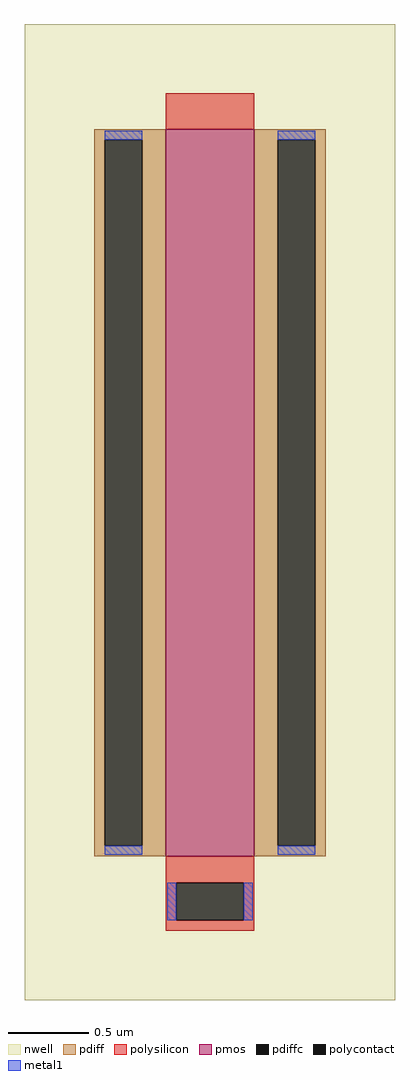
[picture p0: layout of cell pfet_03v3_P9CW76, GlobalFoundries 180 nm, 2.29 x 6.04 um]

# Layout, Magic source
magic
tech gf180mcuD
magscale 1 10
<< nwell >>
rect -229 -604 229 604
<< pmos >>
rect -55 -426 55 474
<< pdiff >>
rect -143 461 -55 474
rect -143 -413 -130 461
rect -84 -413 -55 461
rect -143 -426 -55 -413
rect 55 461 143 474
rect 55 -413 84 461
rect 130 -413 143 461
rect 55 -426 143 -413
<< pdiffc >>
rect -130 -413 -84 461
rect 84 -413 130 461
<< polysilicon >>
rect -55 474 55 518
rect -55 -459 55 -426
rect -55 -505 -42 -459
rect 42 -505 55 -459
rect -55 -518 55 -505
<< polycontact >>
rect -42 -505 42 -459
<< metal1 >>
rect -130 461 -84 472
rect -130 -424 -84 -413
rect 84 461 130 472
rect 84 -424 130 -413
rect -53 -505 -42 -459
rect 42 -505 53 -459
<< properties >>
string gencell pfet_03v3
string library gf180mcu
string parameters w 4.5 l 0.55 m 1 nf 1 diffcov 100 polycov 100 guard 0 glc 1 grc 1 gtc 0 gbc 0 tbcov 100 rlcov 100 topc 0 botc 1 poverlap 0 doverlap 1 lmin 0.28 wmin 0.22 class mosfet full_metal 1 compatible {pfet_03v3 pfet_06v0}
<< end >>
